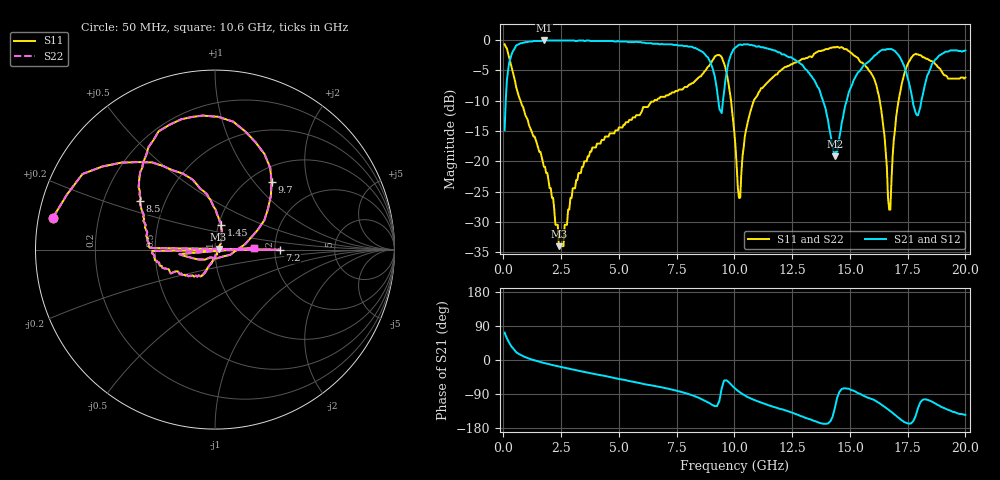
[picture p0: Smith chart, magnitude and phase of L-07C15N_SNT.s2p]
#	mhz	s	ma	r	50
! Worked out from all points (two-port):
!   400 points, 50 MHz to 20 GHz, reference 50 ohm
!   highest |S21| = -0.09 dB at 1.75 GHz (marker M1); lowest = -19.2 dB at 14.35 GHz (marker M2)
!   |S21| within 3 dB of the highest: 300.8 MHz to 8.882 GHz (8.581 GHz wide, 187 % of centre); 9.791 GHz to 12.55 GHz (2.755 GHz wide, 24.7 % of centre)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
!   lowest |S11| = -34.0 dB at 2.4 GHz (marker M3), VSWR 1.04, Z = 52 + j0.322 ohm
!   |S11| at or under -10 dB: 734.1 MHz to 6.531 GHz (5.797 GHz wide, 160 % of centre); 9.853 GHz to 10.84 GHz (988 MHz wide, 9.55 % of centre); 16.29 GHz to 17.11 GHz (816.4 MHz wide, 4.89 % of centre)
!   |S22| runs from -34.0 to -0.7 dB; largest |S21 - S12| = 0
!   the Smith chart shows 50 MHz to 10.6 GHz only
!   S11 on the Smith chart (normalised r, x): 50 MHz: 0.04, +0.10; 1.45 GHz: 1.03, +0.29; 7.2 GHz: 2.12, -0.00; 8.5 GHz: 0.36, +0.26; 9.7 GHz: 1.25, +1.23; 10.6 GHz: 1.56, +0.04
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50  0.92 168.8  0.18 72.0  0.18 72.0  0.92 168.8
350  0.6 125.9  0.76 35.3  0.76 35.3  0.6 125.9
1450  0.14 76.3  0.98 -2.8  0.98 -2.8  0.14 76.3
1750  0.09 67.3  0.99 -7.8  0.99 -7.8  0.09 67.3
2400  0.02 8.9  0.99 -17.1  0.99 -17.1  0.02 8.9
3400  0.09 -108.0  0.99 -30.2  0.99 -30.2  0.09 -108.0
6700  0.33 -167.9  0.93 -70.4  0.93 -70.4  0.33 -167.9
7150  0.35 -178.8  0.92 -75.9  0.92 -75.9  0.35 -178.8
7200  0.36 -0.1  0.92 -76.7  0.92 -76.7  0.36 -0.1
7250  0.36 178.6  0.92 -77.5  0.92 -77.5  0.36 178.6
8500  0.5 147.0  0.82 -101.0  0.82 -101.0  0.5 147.0
9700  0.49 49.9  0.59 -55.8  0.59 -55.8  0.49 49.9
10050  0.13 1.9  0.87 -76.4  0.87 -76.4  0.13 1.9
10250  0.05 -120.6  0.92 -85.9  0.92 -85.9  0.05 -120.6
10600  0.22 2.9  0.92 -98.5  0.92 -98.5  0.22 2.9
11150  0.4 156.0  0.87 -112.2  0.87 -112.2  0.4 156.0
13350  0.72 88.9  0.5 -158.6  0.5 -158.6  0.72 88.9
14350  0.87 35.2  0.11 -126.2  0.11 -126.2  0.87 35.2
16100  0.45 -24.6  0.75 -107.3  0.75 -107.3  0.45 -24.6
16700  0.04 28.1  0.84 -132.5  0.84 -132.5  0.04 28.1
17550  0.66 49.6  0.45 -168.1  0.45 -168.1  0.66 49.6
20000  0.49 -70.5  0.82 -144.5  0.82 -144.5  0.49 -70.5
